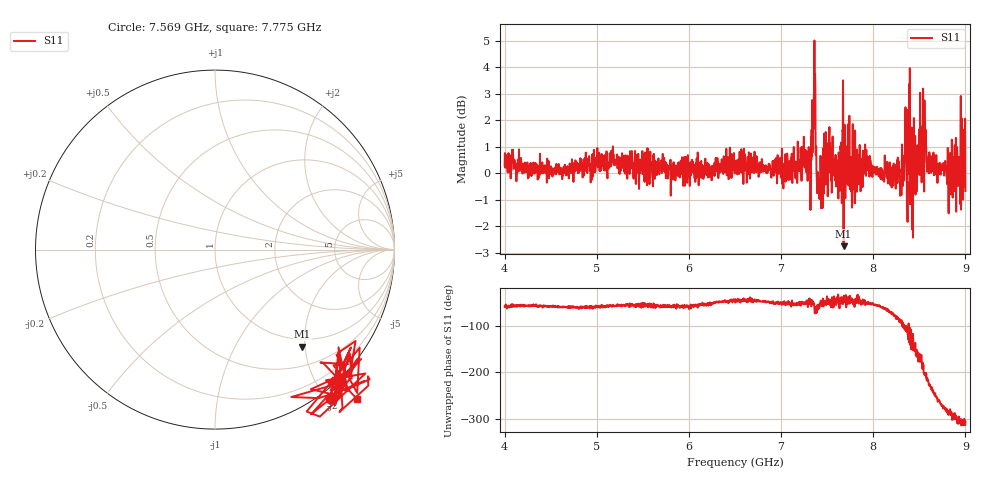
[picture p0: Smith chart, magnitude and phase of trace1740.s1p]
! Created with skrf 1.8.0 (http://scikit-rf.org).
# Hz S RI R 50.0
!freq ReS11 ImS11
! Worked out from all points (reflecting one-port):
!   1601 points, 4 GHz to 9 GHz, reference 50 ohm
!   lowest |S11| = -2.8 dB at 7.678 GHz (marker M1), VSWR 6.35, Z = 42.3 - j97.4 ohm
!   phase of S11 starts at -59 deg and turns -247 deg over the sweep
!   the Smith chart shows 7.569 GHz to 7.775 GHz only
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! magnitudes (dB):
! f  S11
! 4 GHz  0.3
! 4.625 GHz  -0.2
! 5.25 GHz  0.0
! 5.875 GHz  0.1
! 6.5 GHz  0.5
! 7.125 GHz  0.5
! 7.297 GHz  0.7
! 7.328 GHz  0.5
! 7.35 GHz  2.1
! 7.369 GHz  3.7
! 7.4 GHz  0.0
! 7.412 GHz  -0.7
! 7.509 GHz  0.1
! 7.609 GHz  0.3
! 7.65 GHz  1.2
! 7.678 GHz  -2.8
! 7.75 GHz  0.0
! 7.922 GHz  -0.1
! 8.312 GHz  1.1
! 8.334 GHz  -0.3
! 8.347 GHz  1.5
! 8.375 GHz  2.4
! 8.447 GHz  1.1
! 8.522 GHz  1.3
! 8.609 GHz  0.8
! 8.841 GHz  0.1
! 8.972 GHz  0.6
! 9 GHz  -0.7
